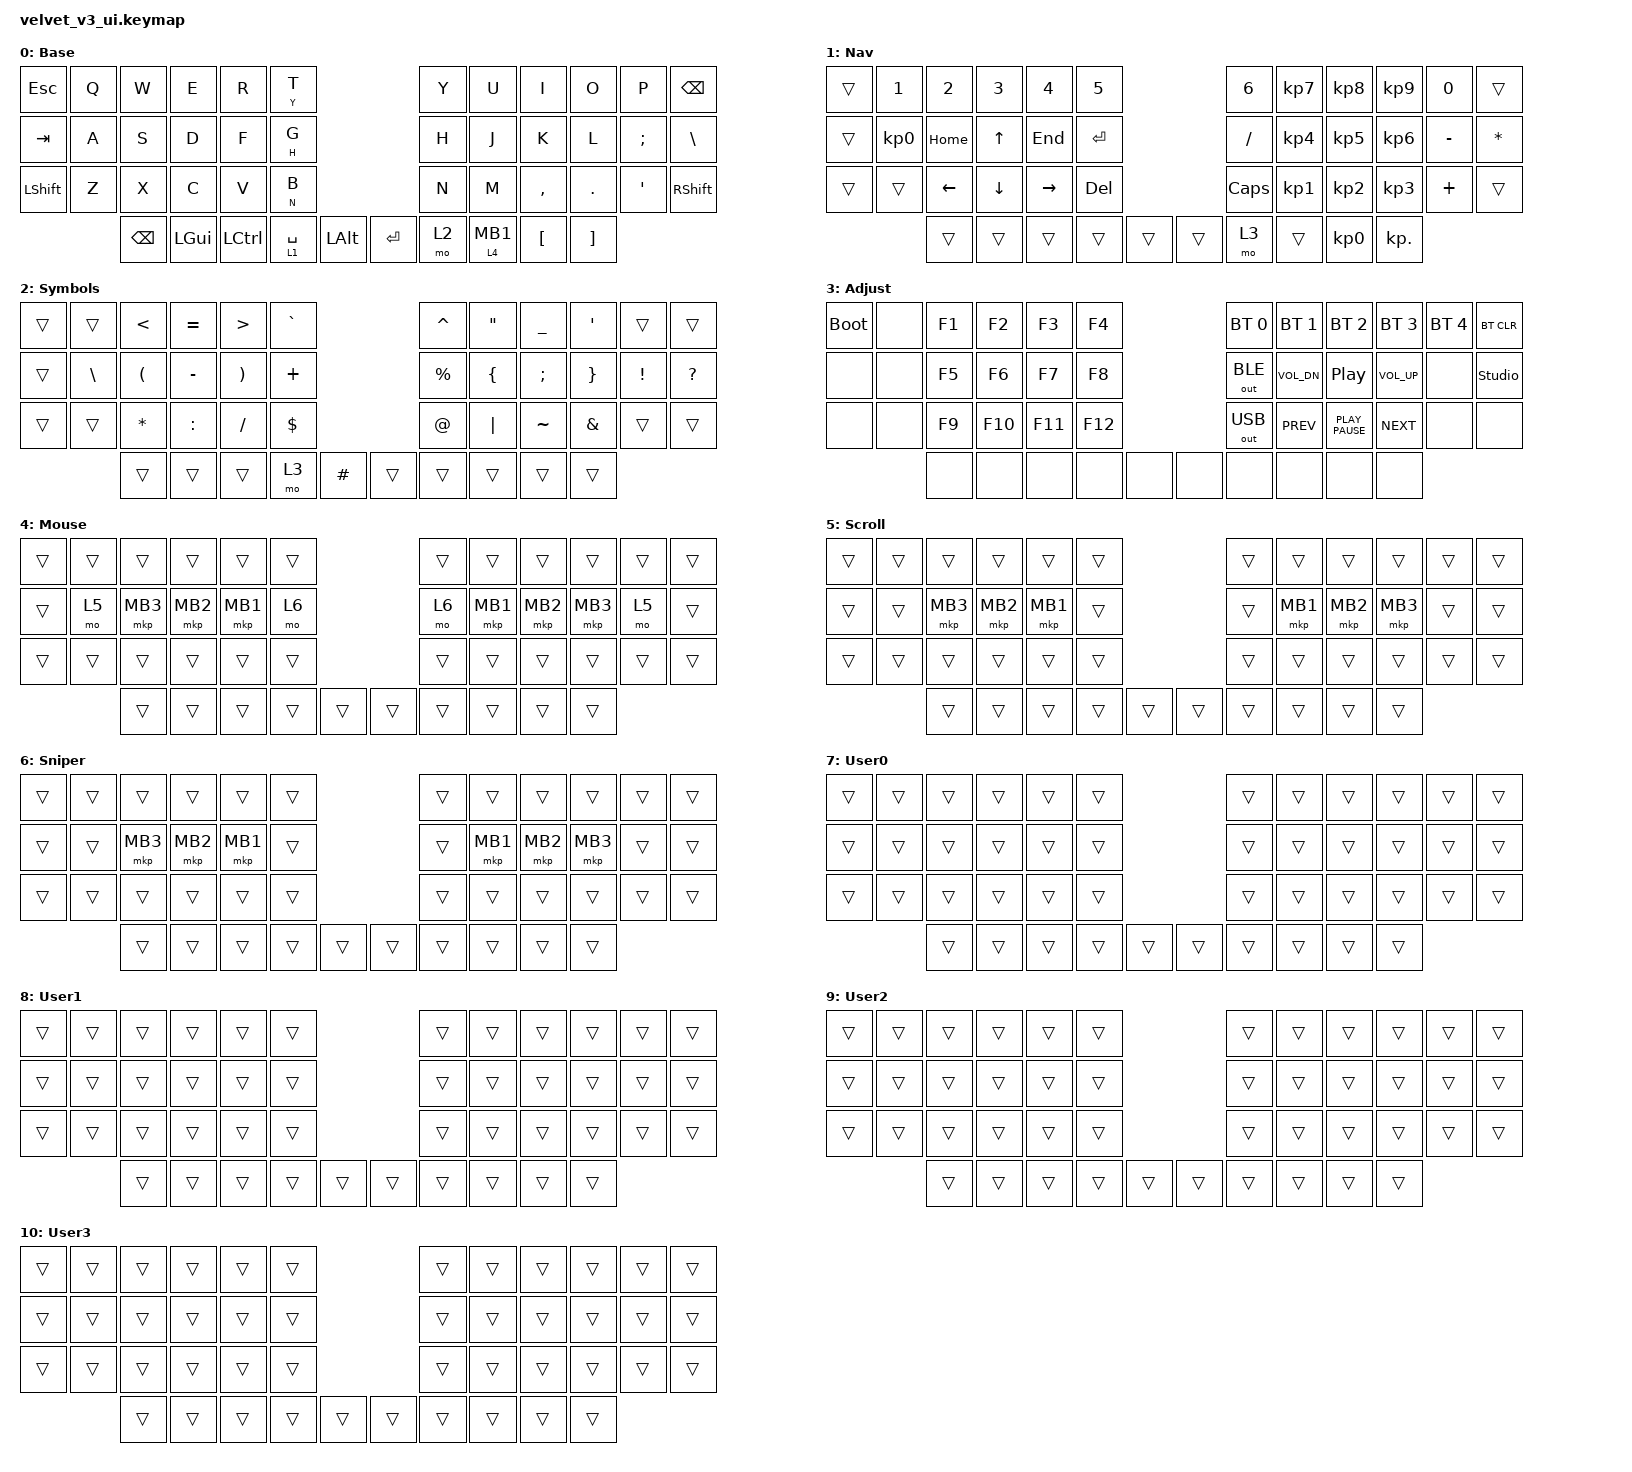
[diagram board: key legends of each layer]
#include "keys_ru.h"
#include <dt-bindings/zmk/input_transform.h>
#include <input/processors.dtsi>
#include <zephyr/dt-bindings/input/input-event-codes.h>
#include <behaviors.dtsi>
#include <dt-bindings/zmk/bt.h>
#include <dt-bindings/zmk/keys.h>
#include <dt-bindings/zmk/outputs.h>
#include <dt-bindings/zmk/pointing.h>

/ {
    behaviors {
        cap_sen: cap_sen {
            compatible = "zmk,behavior-hold-tap";
            label = "CAP_SEN";
            bindings = <&mo>, <&mkp>;

            #binding-cells = <2>;
            tapping-term-ms = <150>;
            hold-while-undecided;
        };

        mouse_layer: mouse_layer {
            compatible = "zmk,behavior-sticky-key";
            label = "MOUSE_LAYER";
            bindings = <&mo>;
            #binding-cells = <1>;
            release-after-ms = <200>;
        };

        zip_auto_mouse: zip_auto_mouse {
            compatible = "zmk,input-processor-temp-layer";
            #input-processor-cells = <2>;
            require-prior-idle-ms = <800>;
            excluded-positions = <>;
        };
    };

    keymap {
        compatible = "zmk,keymap";

        base {
            bindings = <
&kp ESC    &kp Q  &kp W          &kp E     &kp R      &mt Y T                               &kp Y  &kp U           &kp I      &kp O     &kp P     &kp BSPC
&kp TAB    &kp A  &kp S          &kp D     &kp F      &mt H G                               &kp H  &kp J           &kp K      &kp L     &kp SEMI  &kp BSLH
&kp LSHFT  &kp Z  &kp X          &kp C     &kp V      &mt N B                               &kp N  &kp M           &kp COMMA  &kp DOT   &kp SQT   &kp RSHFT
                  &kp BACKSPACE  &kp LGUI  &kp LCTRL  &lt 1 SPACE  &kp LEFT_ALT    &kp RET  &mo 2  &cap_sen 4 MB1  &kp LBKT   &kp RBKT
            >;

            display-name = "Base";
        };

        nav {
            bindings = <
&trans  &kp N1           &kp N2          &kp N3          &kp N4           &kp N5                     &kp N6    &kp KP_NUMBER_7  &kp KP_NUMBER_8  &kp KP_NUMBER_9  &kp N0     &trans
&trans  &kp KP_NUMBER_0  &kp HOME        &kp UP          &kp END          &kp RET                    &kp FSLH  &kp KP_NUMBER_4  &kp KP_NUMBER_5  &kp KP_NUMBER_6  &kp MINUS  &kp ASTRK
&trans  &trans           &kp LEFT_ARROW  &kp DOWN_ARROW  &kp RIGHT_ARROW  &kp DEL                    &kp CLCK  &kp KP_NUMBER_1  &kp KP_NUMBER_2  &kp KP_NUMBER_3  &kp PLUS   &trans
                         &trans          &trans          &trans           &trans   &trans    &trans  &mo 3     &trans           &kp KP_NUMBER_0  &kp KP_DOT
            >;

            display-name = "Nav";
        };

        sym {
            bindings = <
&trans  &trans    &kp LT    &kp EQUAL  &kp GT    &kp GRAVE                      &kp CARET  &kp DQT   &kp UNDER  &kp SQT   &trans    &trans
&trans  &kp BSLH  &kp LPAR  &kp MINUS  &kp RPAR  &kp PLUS                       &kp PRCNT  &kp LBRC  &kp SEMI   &kp RBRC  &kp EXCL  &kp QUESTION
&trans  &trans    &kp STAR  &kp COLON  &kp FSLH  &kp DLLR                       &kp AT     &kp PIPE  &kp TILDE  &kp AMPS  &trans    &trans
                  &trans    &trans     &trans    &mo 3      &kp HASH    &trans  &trans     &trans    &trans     &trans
            >;

            display-name = "Symbols";
        };

        adj {
            bindings = <
&bootloader  &none  &kp F1  &kp F2   &kp F3   &kp F4                   &bt BT_SEL 0  &bt BT_SEL 1  &bt BT_SEL 2      &bt BT_SEL 3  &bt BT_SEL 4  &bt BT_CLR
&none        &none  &kp F5  &kp F6   &kp F7   &kp F8                   &out OUT_BLE  &kp C_VOL_DN  &kp C_PLAY_PAUSE  &kp C_VOL_UP  &none         &studio_unlock
&none        &none  &kp F9  &kp F10  &kp F11  &kp F12                  &out OUT_USB  &kp C_PREV    &kp K_PLAY_PAUSE  &kp C_NEXT    &none         &none
                    &none   &none    &none    &none    &none    &none  &none         &none         &none             &none
            >;

            display-name = "Adjust";
        };

        mouse {
            bindings = <
&trans  &trans  &trans    &trans    &trans    &trans                    &trans  &trans    &trans    &trans    &trans  &trans
&trans  &mo 5   &mkp MB3  &mkp MB2  &mkp MB1  &mo 6                     &mo 6   &mkp MB1  &mkp MB2  &mkp MB3  &mo 5   &trans
&trans  &trans  &trans    &trans    &trans    &trans                    &trans  &trans    &trans    &trans    &trans  &trans
                &trans    &trans    &trans    &trans  &trans    &trans  &trans  &trans    &trans    &trans
            >;

            display-name = "Mouse";
        };

        scroll {
            bindings = <
&trans  &trans  &trans    &trans    &trans    &trans                    &trans  &trans    &trans    &trans    &trans  &trans
&trans  &trans  &mkp MB3  &mkp MB2  &mkp MB1  &trans                    &trans  &mkp MB1  &mkp MB2  &mkp MB3  &trans  &trans
&trans  &trans  &trans    &trans    &trans    &trans                    &trans  &trans    &trans    &trans    &trans  &trans
                &trans    &trans    &trans    &trans  &trans    &trans  &trans  &trans    &trans    &trans
            >;

            display-name = "Scroll";
        };

        sniper {
            bindings = <
&trans  &trans  &trans    &trans    &trans    &trans                    &trans  &trans    &trans    &trans    &trans  &trans
&trans  &trans  &mkp MB3  &mkp MB2  &mkp MB1  &trans                    &trans  &mkp MB1  &mkp MB2  &mkp MB3  &trans  &trans
&trans  &trans  &trans    &trans    &trans    &trans                    &trans  &trans    &trans    &trans    &trans  &trans
                &trans    &trans    &trans    &trans  &trans    &trans  &trans  &trans    &trans    &trans
            >;

            display-name = "Sniper";
        };

        User0 {
            bindings = <
&trans  &trans  &trans  &trans  &trans  &trans                    &trans  &trans  &trans  &trans  &trans  &trans
&trans  &trans  &trans  &trans  &trans  &trans                    &trans  &trans  &trans  &trans  &trans  &trans
&trans  &trans  &trans  &trans  &trans  &trans                    &trans  &trans  &trans  &trans  &trans  &trans
                &trans  &trans  &trans  &trans  &trans    &trans  &trans  &trans  &trans  &trans
            >;

            display-name = "User0";
        };

        User1 {
            bindings = <
&trans  &trans  &trans  &trans  &trans  &trans                    &trans  &trans  &trans  &trans  &trans  &trans
&trans  &trans  &trans  &trans  &trans  &trans                    &trans  &trans  &trans  &trans  &trans  &trans
&trans  &trans  &trans  &trans  &trans  &trans                    &trans  &trans  &trans  &trans  &trans  &trans
                &trans  &trans  &trans  &trans  &trans    &trans  &trans  &trans  &trans  &trans
            >;

            display-name = "User1";
        };

        User2 {
            bindings = <
&trans  &trans  &trans  &trans  &trans  &trans                    &trans  &trans  &trans  &trans  &trans  &trans
&trans  &trans  &trans  &trans  &trans  &trans                    &trans  &trans  &trans  &trans  &trans  &trans
&trans  &trans  &trans  &trans  &trans  &trans                    &trans  &trans  &trans  &trans  &trans  &trans
                &trans  &trans  &trans  &trans  &trans    &trans  &trans  &trans  &trans  &trans
            >;

            display-name = "User2";
        };

        User3 {
            bindings = <
&trans  &trans  &trans  &trans  &trans  &trans                    &trans  &trans  &trans  &trans  &trans  &trans
&trans  &trans  &trans  &trans  &trans  &trans                    &trans  &trans  &trans  &trans  &trans  &trans
&trans  &trans  &trans  &trans  &trans  &trans                    &trans  &trans  &trans  &trans  &trans  &trans
                &trans  &trans  &trans  &trans  &trans    &trans  &trans  &trans  &trans  &trans
            >;

            display-name = "User3";
        };
    };
};

&trackball { cpi = <1000>; };

&trackball_listener {
    input-processors = <&zip_auto_mouse 4 500>, <&zip_xy_scaler 9 20>;

    scroller {
        layers = <5>;
        input-processors =
            <&zip_xy_transform INPUT_TRANSFORM_Y_INVERT>,
            <&zip_xy_scaler 1 32>,
            <&zip_xy_to_scroll_mapper>;
    };

    sniper {
        layers = <6>;
        input-processors = <&zip_xy_scaler 1 4>;
    };
};
